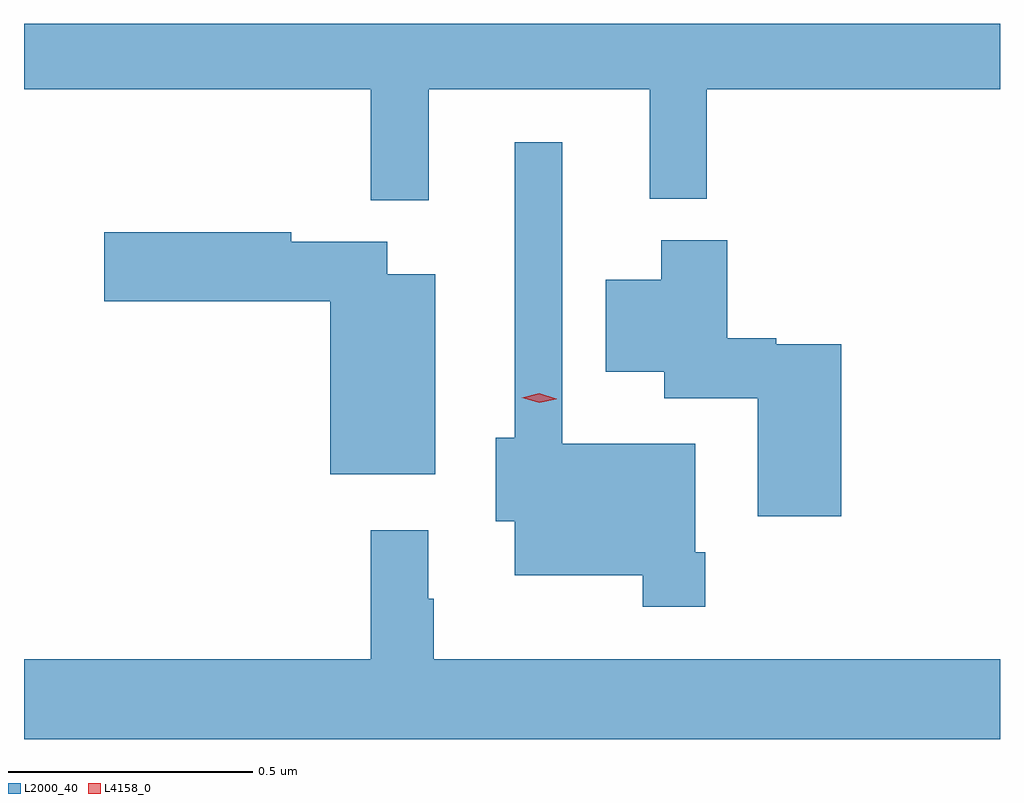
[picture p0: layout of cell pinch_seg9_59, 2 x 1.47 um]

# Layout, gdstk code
import gdstk
lib = gdstk.Library(unit=1e-6, precision=1e-09)
def P(c, l, *ps):  # polygons
    for p in ps: c.add(gdstk.Polygon(p, *l))
L2000_40 = (2000, 40)
L4158_0 = (4158, 0)

pinch_seg9_59 = lib.new_cell('pinch_seg9_59')
P(pinch_seg9_59, L2000_40, [(966.755,1173.776),(967.208,1173.776),(967.208,1173.551),(967.325,1173.551),(967.325,1173.776),(967.926,1173.776),(967.926,1173.91),(965.926,1173.91),(965.926,1173.776),(966.637,1173.776),(966.637,1173.548),(966.755,1173.548)],
  [(967.322,1172.827),(967.302,1172.827),(967.302,1173.049),(967.029,1173.049),(967.029,1173.667),(966.932,1173.667),(966.932,1173.062),(966.893,1173.062),(966.893,1172.891),(966.932,1172.891),(966.932,1172.78),(967.194,1172.78),(967.194,1172.715),(967.322,1172.715)],
  [(966.769,1173.397),(966.67,1173.397),(966.67,1173.463),(966.474,1173.463),(966.474,1173.483),(966.09,1173.483),(966.09,1173.341),(966.554,1173.341),(966.554,1172.987),(966.769,1172.987)],
  [(967.601,1173.253),(967.467,1173.253),(967.467,1173.266),(967.367,1173.266),(967.367,1173.466),(967.232,1173.466),(967.232,1173.385),(967.118,1173.385),(967.118,1173.197),(967.238,1173.197),(967.238,1173.143),(967.43,1173.143),(967.43,1172.901),(967.601,1172.901)],
  [(967.926,1172.608),(966.766,1172.608),(966.766,1172.732),(966.754,1172.732),(966.754,1172.872),(966.637,1172.872),(966.637,1172.608),(965.926,1172.608),(965.926,1172.444),(967.926,1172.444)])
P(pinch_seg9_59, L4158_0, [(966.982,1173.133),(966.946,1173.144),(966.946,1173.144),(966.946,1173.144),(966.982,1173.153),(967.017,1173.142),(967.018,1173.142),(967.017,1173.141)])

lib.write_gds('pinch_seg9_59.gds')
